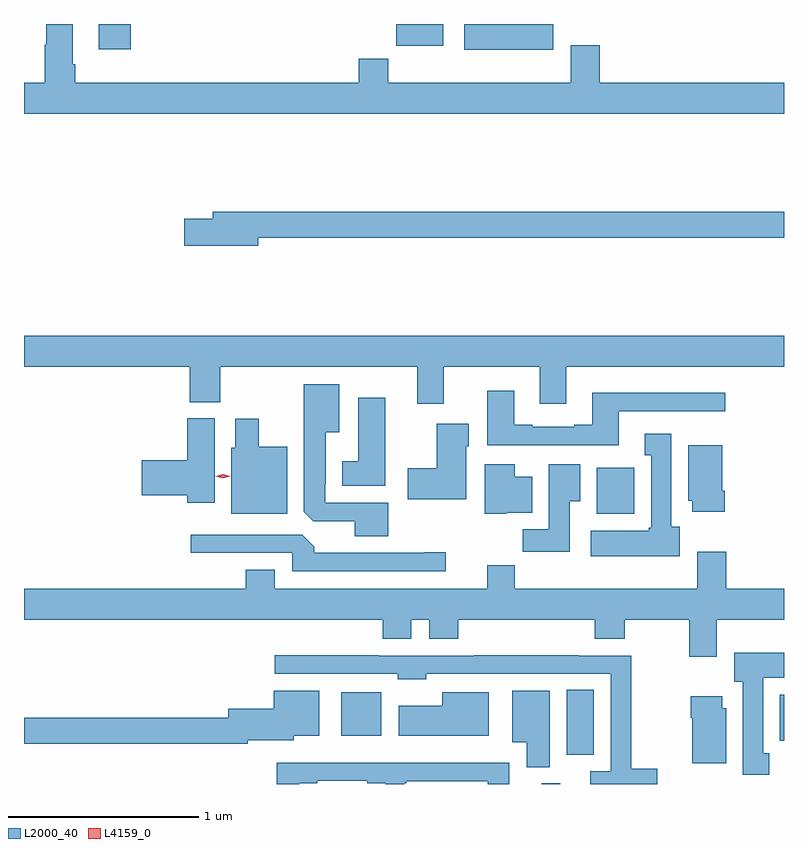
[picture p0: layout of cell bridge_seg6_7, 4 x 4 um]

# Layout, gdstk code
import gdstk
lib = gdstk.Library(unit=1e-6, precision=1e-09)
def R(c, l, rs):  # rectangles x0, y0, x1, y1
    for r in rs: c.add(gdstk.rectangle(r[:2], r[2:], *l))
def P(c, l, *ps):  # polygons
    for p in ps: c.add(gdstk.Polygon(p, *l))
L2000_40 = (2000, 40)
L4159_0 = (4159, 0)

bridge_seg6_7 = lib.new_cell('bridge_seg6_7')
R(bridge_seg6_7, L2000_40, [(929.786,949.136,929.884,949.14), (929.918,949.289,930.061,949.631), (931.04,949.364,931.062,949.606), (928.733,949.391,928.942,949.618), (930.077,950.558,930.274,950.8), (927.455,953.004,927.623,953.136), (929.02,953.022,929.269,953.136)])
P(bridge_seg6_7, L2000_40, [(931.062,952.828),(930.092,952.828),(930.092,953.023),(929.939,953.023),(929.939,952.828),(928.979,952.828),(928.979,952.952),(928.823,952.952),(928.823,952.828),(927.332,952.828),(927.332,952.924),(927.319,952.924),(927.319,953.136),(927.179,953.136),(927.179,953.027),(927.172,953.027),(927.172,952.828),(927.062,952.828),(927.062,952.664),(931.062,952.664)],
  [(929.848,953.136),(929.683,953.136),(929.683,953.134),(929.379,953.134),(929.379,953),(929.848,953)],
  [(928.294,952.012),(931.062,952.012),(931.062,952.148),(928.055,952.148),(928.055,952.112),(927.906,952.112),(927.906,951.97),(928.294,951.97)],
  [(929.272,951.332),(929.777,951.332),(929.777,951.138),(929.917,951.138),(929.917,951.332),(931.062,951.332),(931.062,951.496),(927.062,951.496),(927.062,951.332),(927.935,951.332),(927.935,951.145),(928.095,951.145),(928.095,951.332),(929.132,951.332),(929.132,951.138),(929.272,951.138)],
  [(928.978,950.616),(928.647,950.616),(928.647,950.713),(928.651,950.713),(928.651,950.987),(928.72,950.987),(928.72,951.241),(928.535,951.241),(928.535,950.569),(928.584,950.52),(928.802,950.52),(928.802,950.441),(928.978,950.441)],
  [(930.193,951.099),(930.754,951.099),(930.754,951.196),(930.053,951.196),(930.053,951.028),(929.957,951.028),(929.957,951.015),(929.737,951.015),(929.737,951.028),(929.641,951.028),(929.641,951.205),(929.501,951.205),(929.501,950.919),(930.193,950.919)],
  [(928.963,951.169),(928.82,951.169),(928.82,950.836),(928.736,950.836),(928.736,950.705),(928.963,950.705)],
  [(928.066,951.06),(927.92,951.06),(927.92,950.84),(927.681,950.84),(927.681,950.657),(927.92,950.657),(927.92,950.616),(928.066,950.616)],
  [(928.447,950.911),(928.297,950.911),(928.297,951.058),(928.175,951.058),(928.175,950.907),(928.154,950.907),(928.154,950.558),(928.447,950.558)],
  [(929.389,950.913),(929.404,950.913),(929.404,951.031),(929.234,951.031),(929.234,950.799),(929.082,950.799),(929.082,950.636),(929.389,950.636)],
  [(930.514,950.49),(930.469,950.49),(930.469,950.98),(930.329,950.98),(930.329,950.867),(930.362,950.867),(930.362,950.484),(930.349,950.484),(930.349,950.47),(930.045,950.47),(930.045,950.336),(930.514,950.336)],
  [(930.749,950.68),(930.736,950.68),(930.736,950.92),(930.557,950.92),(930.557,950.628),(930.578,950.628),(930.578,950.568),(930.749,950.568)],
  [(929.935,950.624),(929.989,950.624),(929.989,950.818),(929.825,950.818),(929.825,950.476),(929.686,950.476),(929.686,950.358),(929.935,950.358)],
  [(929.604,950.564),(929.737,950.564),(929.737,950.752),(929.644,950.752),(929.644,950.818),(929.486,950.818),(929.486,950.558),(929.604,950.558)],
  [(929.281,950.357),(929.168,950.357),(929.168,950.352),(928.589,950.352),(928.589,950.386),(928.527,950.448),(927.939,950.448),(927.939,950.352),(928.473,950.352),(928.473,950.256),(929.281,950.256)],
  [(929.645,950.288),(929.501,950.288),(929.501,950.164),(928.381,950.164),(928.381,950.263),(928.229,950.263),(928.229,950.164),(927.062,950.164),(927.062,950),(928.949,950),(928.949,949.901),(929.101,949.901),(929.101,950),(929.195,950),(929.195,949.901),(929.348,949.901),(929.348,950),(930.065,950),(930.065,949.901),(930.225,949.901),(930.225,950),(930.562,950),(930.562,949.806),(930.709,949.806),(930.709,950),(931.062,950),(931.062,950.164),(930.758,950.164),(930.758,950.359),(930.605,950.359),(930.605,950.164),(929.645,950.164)],
  [(930.985,949.298),(930.952,949.298),(930.952,949.694),(931.062,949.694),(931.062,949.828),(930.8,949.828),(930.8,949.674),(930.845,949.674),(930.845,949.185),(930.985,949.185)],
  [(930.394,949.217),(930.259,949.217),(930.259,949.812),(929.981,949.812),(929.981,949.814),(929.431,949.814),(929.431,949.812),(928.928,949.812),(928.928,949.814),(928.383,949.814),(928.383,949.716),(929.028,949.716),(929.028,949.688),(929.178,949.688),(929.178,949.716),(930.15,949.716),(930.15,949.204),(930.041,949.204),(930.041,949.136),(930.394,949.136)],
  [(929.83,949.627),(929.633,949.627),(929.633,949.355),(929.708,949.355),(929.708,949.225),(929.83,949.225)],
  [(928.24,949.367),(928.482,949.367),(928.482,949.391),(928.615,949.391),(928.615,949.627),(928.376,949.627),(928.376,949.531),(928.136,949.531),(928.136,949.484),(927.062,949.484),(927.062,949.348),(928.24,949.348)],
  [(929.509,949.618),(929.264,949.618),(929.264,949.549),(929.034,949.549),(929.034,949.391),(929.509,949.391)],
  [(930.757,949.536),(930.736,949.536),(930.736,949.597),(930.571,949.597),(930.571,949.484),(930.578,949.484),(930.578,949.244),(930.757,949.244)],
  [(928.51,949.14),(928.606,949.14),(928.606,949.152),(928.868,949.152),(928.868,949.14),(928.964,949.14),(928.964,949.136),(929.062,949.136),(929.062,949.14),(929.074,949.14),(929.074,949.151),(929.504,949.151),(929.504,949.136),(929.617,949.136),(929.617,949.249),(928.393,949.249),(928.393,949.136),(928.51,949.136)])
P(bridge_seg6_7, L4159_0, [(928.109,950.745),(928.072,950.755),(928.072,950.755),(928.072,950.755),(928.109,950.765),(928.147,950.755),(928.147,950.755),(928.147,950.755)])

lib.write_gds('bridge_seg6_7.gds')
